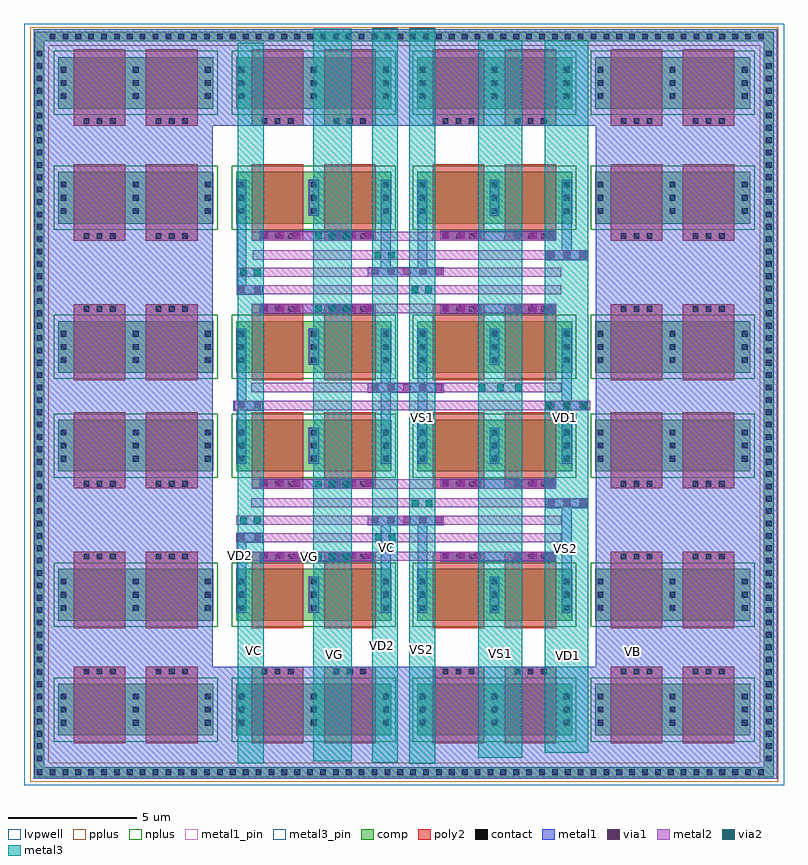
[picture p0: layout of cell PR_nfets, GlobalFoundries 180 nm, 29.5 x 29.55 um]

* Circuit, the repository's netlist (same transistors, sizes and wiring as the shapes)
** sch_path: /home/gmaranhao/Desktop/gf180_work/TIA/PseudoResistor/PR_nfets.sch
.subckt PR_nfets VD1 VD2 VS1 VS2 VG VC VB
*.PININFO VD1:B VD2:B VS1:B VS2:B VG:B VC:B VB:B
M5[1] VB VB VB VB nfet_03v3 L=2u W=2u nf=1 m=1
M5[2] VB VB VB VB nfet_03v3 L=2u W=2u nf=1 m=1
M5[3] VB VB VB VB nfet_03v3 L=2u W=2u nf=1 m=1
M5[4] VB VB VB VB nfet_03v3 L=2u W=2u nf=1 m=1
M5[5] VB VB VB VB nfet_03v3 L=2u W=2u nf=1 m=1
M5[6] VB VB VB VB nfet_03v3 L=2u W=2u nf=1 m=1
M5[7] VB VB VB VB nfet_03v3 L=2u W=2u nf=1 m=1
M5[8] VB VB VB VB nfet_03v3 L=2u W=2u nf=1 m=1
M5[9] VB VB VB VB nfet_03v3 L=2u W=2u nf=1 m=1
M5[10] VB VB VB VB nfet_03v3 L=2u W=2u nf=1 m=1
M5[11] VB VB VB VB nfet_03v3 L=2u W=2u nf=1 m=1
M5[12] VB VB VB VB nfet_03v3 L=2u W=2u nf=1 m=1
M5[13] VB VB VB VB nfet_03v3 L=2u W=2u nf=1 m=1
M5[14] VB VB VB VB nfet_03v3 L=2u W=2u nf=1 m=1
M5[15] VB VB VB VB nfet_03v3 L=2u W=2u nf=1 m=1
M5[16] VB VB VB VB nfet_03v3 L=2u W=2u nf=1 m=1
M5[17] VB VB VB VB nfet_03v3 L=2u W=2u nf=1 m=1
M5[18] VB VB VB VB nfet_03v3 L=2u W=2u nf=1 m=1
M5[19] VB VB VB VB nfet_03v3 L=2u W=2u nf=1 m=1
M5[20] VB VB VB VB nfet_03v3 L=2u W=2u nf=1 m=1
M5[21] VB VB VB VB nfet_03v3 L=2u W=2u nf=1 m=1
M5[22] VB VB VB VB nfet_03v3 L=2u W=2u nf=1 m=1
M5[23] VB VB VB VB nfet_03v3 L=2u W=2u nf=1 m=1
M5[24] VB VB VB VB nfet_03v3 L=2u W=2u nf=1 m=1
M5[25] VB VB VB VB nfet_03v3 L=2u W=2u nf=1 m=1
M5[26] VB VB VB VB nfet_03v3 L=2u W=2u nf=1 m=1
M5[27] VB VB VB VB nfet_03v3 L=2u W=2u nf=1 m=1
M5[28] VB VB VB VB nfet_03v3 L=2u W=2u nf=1 m=1
M5[29] VB VB VB VB nfet_03v3 L=2u W=2u nf=1 m=1
M5[30] VB VB VB VB nfet_03v3 L=2u W=2u nf=1 m=1
M5[31] VB VB VB VB nfet_03v3 L=2u W=2u nf=1 m=1
M5[32] VB VB VB VB nfet_03v3 L=2u W=2u nf=1 m=1
M3 VD2 VG net1 VB nfet_03v3 L=2u W=2u nf=1 m=1
M4 net1 VG VC VB nfet_03v3 L=2u W=2u nf=1 m=1
M6 VD2 VG net2 VB nfet_03v3 L=2u W=2u nf=1 m=1
M8 net2 VG VC VB nfet_03v3 L=2u W=2u nf=1 m=1
M1 VC VG net3 VB nfet_03v3 L=2u W=2u nf=1 m=1
M9 net3 VG VS2 VB nfet_03v3 L=2u W=2u nf=1 m=1
M10 VC VG net4 VB nfet_03v3 L=2u W=2u nf=1 m=1
M11 net4 VG VS2 VB nfet_03v3 L=2u W=2u nf=1 m=1
M2 VD1 VG net5 VB nfet_03v3 L=2u W=2u nf=1 m=1
M12 net5 VG VS1 VB nfet_03v3 L=2u W=2u nf=1 m=1
M13 VD1 VG net6 VB nfet_03v3 L=2u W=2u nf=1 m=1
M14 net6 VG VS1 VB nfet_03v3 L=2u W=2u nf=1 m=1
M7 VD1 VG net7 VB nfet_03v3 L=2u W=2u nf=1 m=1
M15 net7 VG VS1 VB nfet_03v3 L=2u W=2u nf=1 m=1
M16 VD1 VG net8 VB nfet_03v3 L=2u W=2u nf=1 m=1
M17 net8 VG VS1 VB nfet_03v3 L=2u W=2u nf=1 m=1
.ends
.end

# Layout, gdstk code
import gdstk
lib = gdstk.Library(unit=1e-6, precision=1e-09)
def R(c, l, rs):  # rectangles x0, y0, x1, y1
    for r in rs: c.add(gdstk.rectangle(r[:2], r[2:], *l))
def A(c, l, x, y, w, h, nx, ny, dx, dy):  # array of equal rectangles
    R(c, l, [(x+i*dx, y+j*dy, x+i*dx+w, y+j*dy+h) for i in range(nx) for j in range(ny)])
def P(c, l, *ps):  # polygons
    for p in ps: c.add(gdstk.Polygon(p, *l))
comp = (22, 0)
poly2 = (30, 0)
pplus = (31, 0)
nplus = (32, 0)
contact = (33, 0)
metal1 = (34, 0)
metal1_pin = (34, 10)
via1 = (35, 0)
metal2 = (36, 0)
via2 = (38, 0)
metal3 = (42, 0)
metal3_pin = (42, 10)
lvpwell = (204, 0)

nfet_1 = lib.new_cell('nfet$1')
R(nfet_1, comp, [(-0.42,0,0,2), (0,0,2.38,2), (2.38,0,2.8,2)])
R(nfet_1, poly2, [(0.19,-0.3,2.19,2.3), (0.19,2.3,2.19,2.66)])
R(nfet_1, nplus, [(-0.59,-0.24,2.97,2.24)])
A(nfet_1, contact, -0.32, 0.38, 0.22, 0.22, 1, 3, 0, 0.51)
A(nfet_1, contact, 2.48, 0.38, 0.22, 0.22, 1, 3, 0, 0.51)
A(nfet_1, contact, 0.57, 2.37, 0.22, 0.22, 3, 1, 0.51, 0)
R(nfet_1, metal1, [(-0.4,0.3,-0.02,1.7), (2.4,0.3,2.78,1.7), (0.49,2.29,1.89,2.67)])

pr_nfets = lib.new_cell('PR_nfets')
R(pr_nfets, comp, [(-8.285,-5.85,20.405,-5.47), (-8.285,-5.47,-7.905,23.09), (20.025,-5.47,20.405,23.09), (-8.285,22.71,20.405,23.09)])
R(pr_nfets, pplus, [(-8.455,-6.02,20.575,-5.3), (-8.455,-5.645,-7.735,23.26), (19.855,-5.645,20.575,23.26), (-8.455,22.54,20.575,23.26)])
A(pr_nfets, contact, -8.2, -5.77, 0.22, 0.22, 57, 1, 0.5, 0)
A(pr_nfets, contact, -8.205, -5.235, 0.22, 0.22, 1, 58, 0, 0.48)
A(pr_nfets, contact, 20.105, -5.235, 0.22, 0.22, 1, 58, 0, 0.48)
A(pr_nfets, contact, -7.7, 22.79, 0.22, 0.22, 56, 1, 0.5, 0)
R(pr_nfets, contact, [(-8.205,22.125,-7.985,22.345)])
R(pr_nfets, metal1, [(-8.325,-5.905,-1.37,23.18), (-1.765,-5.905,20.535,-1.56), (13.49,-3.93,20.535,21.8), (-0.44,1.89,-0.06,3.63), (12.18,1.9,12.56,4.72), (5.16,1.91,5.54,4.13), (6.58,1.91,6.96,4.13), (0.45,2.52,2.09,2.9), (2.045,2.52,3.275,2.9), (3.25,2.52,4.89,2.9), (7.47,2.52,9.11,2.9), (9.065,2.52,10.295,2.9), (10.27,2.52,11.91,2.9), (-0.44,3.25,0.57,3.63), (-0.44,3.25,0.57,3.63), (4.65,3.92,7.605,4.3), (11.565,4.585,13.19,4.965), (0.45,5.35,2.09,5.73), (2.045,5.35,3.275,5.73), (3.25,5.35,4.89,5.73), (7.47,5.35,9.11,5.73), (9.065,5.35,10.295,5.73), (10.27,5.35,11.91,5.73), (12.18,6.41,12.56,9.22), (-0.44,7.18,-0.06,8.76), (5.16,7.355,5.54,9.41), (6.58,7.355,6.96,9.41), (-0.44,8.265,-0.06,11.075), (-0.565,8.38,0.57,8.76), (-0.485,8.38,0.57,8.76), (11.555,8.39,13.19,8.77), (12.18,8.415,12.56,11.225), (4.65,9.065,7.605,9.445), (5.16,9.09,5.54,11.145), (6.58,9.09,6.96,11.145), (0.45,12.14,2.09,12.52), (2.045,12.14,3.275,12.52), (3.25,12.14,4.89,12.52), (7.47,12.14,9.11,12.52), (9.065,12.14,10.295,12.52), (10.27,12.14,11.91,12.52), (-0.44,12.87,0.57,13.25), (-0.415,12.87,0.57,13.25), (-0.44,13.075,-0.06,16.095), (4.65,13.565,7.605,13.945), (5.16,13.765,5.54,15.985), (6.58,13.765,6.96,15.985), (11.555,14.22,13.19,14.6), (12.18,14.37,12.56,16.095), (0.45,14.97,2.09,15.35), (2.045,14.97,3.275,15.35), (3.25,14.97,4.89,15.35), (7.47,14.97,9.11,15.35), (9.065,14.97,10.295,15.35), (10.27,14.97,11.91,15.35), (-1.765,19.43,20.535,23.18)])
R(pr_nfets, metal1_pin, [(14.825,-0.995,15,-0.875)])
A(pr_nfets, via1, 11.635, 4.665, 0.26, 0.26, 3, 1, 0.62, 0)
A(pr_nfets, via1, 11.625, 14.3, 0.26, 0.26, 3, 1, 0.62, 0)
R(pr_nfets, via1, [(0.52,2.6,0.78,2.86), (0.52,2.6,0.78,2.86), (0.52,2.6,0.78,2.86), (0.52,2.6,0.78,2.86), (0.52,2.6,0.78,2.86), (0.52,2.6,0.78,2.86), (0.52,2.6,0.78,2.86), (0.52,2.6,0.78,2.86), (1.14,2.6,1.4,2.86), (1.14,2.6,1.4,2.86), (1.14,2.6,1.4,2.86), (1.14,2.6,1.4,2.86), (1.14,2.6,1.4,2.86), (1.14,2.6,1.4,2.86), (1.14,2.6,1.4,2.86), (1.14,2.6,1.4,2.86), (1.76,2.6,2.02,2.86), (1.76,2.6,2.02,2.86), (1.76,2.6,2.02,2.86), (1.76,2.6,2.02,2.86), (1.76,2.6,2.02,2.86), (1.76,2.6,2.02,2.86), (1.76,2.6,2.02,2.86), (1.76,2.6,2.02,2.86), (3.32,2.6,3.58,2.86), (3.32,2.6,3.58,2.86), (3.32,2.6,3.58,2.86), (3.32,2.6,3.58,2.86), (3.32,2.6,3.58,2.86), (3.32,2.6,3.58,2.86), (3.32,2.6,3.58,2.86), (3.32,2.6,3.58,2.86), (3.94,2.6,4.2,2.86), (3.94,2.6,4.2,2.86), (3.94,2.6,4.2,2.86), (3.94,2.6,4.2,2.86), (3.94,2.6,4.2,2.86), (3.94,2.6,4.2,2.86), (3.94,2.6,4.2,2.86), (3.94,2.6,4.2,2.86), (4.56,2.6,4.82,2.86), (4.56,2.6,4.82,2.86), (4.56,2.6,4.82,2.86), (4.56,2.6,4.82,2.86), (4.56,2.6,4.82,2.86), (4.56,2.6,4.82,2.86), (4.56,2.6,4.82,2.86), (4.56,2.6,4.82,2.86), (7.54,2.6,7.8,2.86), (7.54,2.6,7.8,2.86), (7.54,2.6,7.8,2.86), (7.54,2.6,7.8,2.86), (7.54,2.6,7.8,2.86), (7.54,2.6,7.8,2.86), (7.54,2.6,7.8,2.86), (7.54,2.6,7.8,2.86), (8.16,2.6,8.42,2.86), (8.16,2.6,8.42,2.86), (8.16,2.6,8.42,2.86), (8.16,2.6,8.42,2.86), (8.16,2.6,8.42,2.86), (8.16,2.6,8.42,2.86), (8.16,2.6,8.42,2.86), (8.16,2.6,8.42,2.86), (8.78,2.6,9.04,2.86), (8.78,2.6,9.04,2.86), (8.78,2.6,9.04,2.86), (8.78,2.6,9.04,2.86), (8.78,2.6,9.04,2.86), (8.78,2.6,9.04,2.86), (8.78,2.6,9.04,2.86), (8.78,2.6,9.04,2.86), (10.34,2.6,10.6,2.86), (10.34,2.6,10.6,2.86), (10.34,2.6,10.6,2.86), (10.34,2.6,10.6,2.86), (10.34,2.6,10.6,2.86), (10.34,2.6,10.6,2.86), (10.34,2.6,10.6,2.86), (10.34,2.6,10.6,2.86), (10.96,2.6,11.22,2.86), (10.96,2.6,11.22,2.86), (10.96,2.6,11.22,2.86), (10.96,2.6,11.22,2.86), (10.96,2.6,11.22,2.86), (10.96,2.6,11.22,2.86), (10.96,2.6,11.22,2.86), (10.96,2.6,11.22,2.86), (11.58,2.6,11.84,2.86), (11.58,2.6,11.84,2.86), (11.58,2.6,11.84,2.86), (11.58,2.6,11.84,2.86), (11.58,2.6,11.84,2.86), (11.58,2.6,11.84,2.86), (11.58,2.6,11.84,2.86), (11.58,2.6,11.84,2.86), (-0.38,3.33,-0.12,3.59), (0.24,3.33,0.5,3.59), (4.795,4,5.055,4.26), (4.795,4,5.055,4.26), (4.795,4,5.055,4.26), (4.795,4,5.055,4.26), (4.795,4,5.055,4.26), (4.795,4,5.055,4.26), (4.795,4,5.055,4.26), (4.795,4,5.055,4.26), (5.415,4,5.675,4.26), (5.415,4,5.675,4.26), (5.415,4,5.675,4.26), (5.415,4,5.675,4.26), (5.415,4,5.675,4.26), (5.415,4,5.675,4.26), (5.415,4,5.675,4.26), (5.415,4,5.675,4.26), (6.035,4,6.295,4.26), (6.035,4,6.295,4.26), (6.035,4,6.295,4.26), (6.035,4,6.295,4.26), (6.035,4,6.295,4.26), (6.035,4,6.295,4.26), (6.035,4,6.295,4.26), (6.035,4,6.295,4.26), (6.655,4,6.915,4.26), (6.655,4,6.915,4.26), (6.655,4,6.915,4.26), (6.655,4,6.915,4.26), (6.655,4,6.915,4.26), (6.655,4,6.915,4.26), (6.655,4,6.915,4.26), (6.655,4,6.915,4.26), (7.275,4,7.535,4.26), (7.275,4,7.535,4.26), (7.275,4,7.535,4.26), (7.275,4,7.535,4.26), (7.275,4,7.535,4.26), (7.275,4,7.535,4.26), (7.275,4,7.535,4.26), (7.275,4,7.535,4.26), (0.52,5.43,0.78,5.69), (0.52,5.43,0.78,5.69), (0.52,5.43,0.78,5.69), (0.52,5.43,0.78,5.69), (0.52,5.43,0.78,5.69), (0.52,5.43,0.78,5.69), (0.52,5.43,0.78,5.69), (0.52,5.43,0.78,5.69), (1.14,5.43,1.4,5.69), (1.14,5.43,1.4,5.69), (1.14,5.43,1.4,5.69), (1.14,5.43,1.4,5.69), (1.14,5.43,1.4,5.69), (1.14,5.43,1.4,5.69), (1.14,5.43,1.4,5.69), (1.14,5.43,1.4,5.69), (1.76,5.43,2.02,5.69), (1.76,5.43,2.02,5.69), (1.76,5.43,2.02,5.69), (1.76,5.43,2.02,5.69), (1.76,5.43,2.02,5.69), (1.76,5.43,2.02,5.69), (1.76,5.43,2.02,5.69), (1.76,5.43,2.02,5.69), (3.32,5.43,3.58,5.69), (3.32,5.43,3.58,5.69), (3.32,5.43,3.58,5.69), (3.32,5.43,3.58,5.69), (3.32,5.43,3.58,5.69), (3.32,5.43,3.58,5.69), (3.32,5.43,3.58,5.69), (3.32,5.43,3.58,5.69), (3.94,5.43,4.2,5.69), (3.94,5.43,4.2,5.69), (3.94,5.43,4.2,5.69), (3.94,5.43,4.2,5.69), (3.94,5.43,4.2,5.69), (3.94,5.43,4.2,5.69), (3.94,5.43,4.2,5.69), (3.94,5.43,4.2,5.69), (4.56,5.43,4.82,5.69), (4.56,5.43,4.82,5.69), (4.56,5.43,4.82,5.69), (4.56,5.43,4.82,5.69), (4.56,5.43,4.82,5.69), (4.56,5.43,4.82,5.69), (4.56,5.43,4.82,5.69), (4.56,5.43,4.82,5.69), (7.54,5.43,7.8,5.69), (7.54,5.43,7.8,5.69), (7.54,5.43,7.8,5.69), (7.54,5.43,7.8,5.69), (7.54,5.43,7.8,5.69), (7.54,5.43,7.8,5.69), (7.54,5.43,7.8,5.69), (7.54,5.43,7.8,5.69), (8.16,5.43,8.42,5.69), (8.16,5.43,8.42,5.69), (8.16,5.43,8.42,5.69), (8.16,5.43,8.42,5.69), (8.16,5.43,8.42,5.69), (8.16,5.43,8.42,5.69), (8.16,5.43,8.42,5.69), (8.16,5.43,8.42,5.69), (8.78,5.43,9.04,5.69), (8.78,5.43,9.04,5.69), (8.78,5.43,9.04,5.69), (8.78,5.43,9.04,5.69), (8.78,5.43,9.04,5.69), (8.78,5.43,9.04,5.69), (8.78,5.43,9.04,5.69), (8.78,5.43,9.04,5.69), (10.34,5.43,10.6,5.69), (10.34,5.43,10.6,5.69), (10.34,5.43,10.6,5.69), (10.34,5.43,10.6,5.69), (10.34,5.43,10.6,5.69), (10.34,5.43,10.6,5.69), (10.34,5.43,10.6,5.69), (10.34,5.43,10.6,5.69), (10.96,5.43,11.22,5.69), (10.96,5.43,11.22,5.69), (10.96,5.43,11.22,5.69), (10.96,5.43,11.22,5.69), (10.96,5.43,11.22,5.69), (10.96,5.43,11.22,5.69), (10.96,5.43,11.22,5.69), (10.96,5.43,11.22,5.69), (11.58,5.43,11.84,5.69), (11.58,5.43,11.84,5.69), (11.58,5.43,11.84,5.69), (11.58,5.43,11.84,5.69), (11.58,5.43,11.84,5.69), (11.58,5.43,11.84,5.69), (11.58,5.43,11.84,5.69), (11.58,5.43,11.84,5.69), (-0.38,8.46,-0.12,8.72), (0.24,8.46,0.5,8.72), (11.625,8.47,11.885,8.73), (11.625,8.47,11.885,8.73), (11.625,8.47,11.885,8.73), (11.625,8.47,11.885,8.73), (11.625,8.47,11.885,8.73), (11.625,8.47,11.885,8.73), (11.625,8.47,11.885,8.73), (11.625,8.47,11.885,8.73), (12.245,8.47,12.505,8.73), (12.245,8.47,12.505,8.73), (12.245,8.47,12.505,8.73), (12.245,8.47,12.505,8.73), (12.245,8.47,12.505,8.73), (12.245,8.47,12.505,8.73), (12.245,8.47,12.505,8.73), (12.245,8.47,12.505,8.73), (12.865,8.47,13.125,8.73), (12.865,8.47,13.125,8.73), (12.865,8.47,13.125,8.73), (12.865,8.47,13.125,8.73), (12.865,8.47,13.125,8.73), (12.865,8.47,13.125,8.73), (12.865,8.47,13.125,8.73), (12.865,8.47,13.125,8.73), (4.795,9.145,5.055,9.405), (4.795,9.145,5.055,9.405), (4.795,9.145,5.055,9.405), (4.795,9.145,5.055,9.405), (4.795,9.145,5.055,9.405), (4.795,9.145,5.055,9.405), (4.795,9.145,5.055,9.405), (4.795,9.145,5.055,9.405), (5.415,9.145,5.675,9.405), (5.415,9.145,5.675,9.405), (5.415,9.145,5.675,9.405), (5.415,9.145,5.675,9.405), (5.415,9.145,5.675,9.405), (5.415,9.145,5.675,9.405), (5.415,9.145,5.675,9.405), (5.415,9.145,5.675,9.405), (6.035,9.145,6.295,9.405), (6.035,9.145,6.295,9.405), (6.035,9.145,6.295,9.405), (6.035,9.145,6.295,9.405), (6.035,9.145,6.295,9.405), (6.035,9.145,6.295,9.405), (6.035,9.145,6.295,9.405), (6.035,9.145,6.295,9.405), (6.655,9.145,6.915,9.405), (6.655,9.145,6.915,9.405), (6.655,9.145,6.915,9.405), (6.655,9.145,6.915,9.405), (6.655,9.145,6.915,9.405), (6.655,9.145,6.915,9.405), (6.655,9.145,6.915,9.405), (6.655,9.145,6.915,9.405), (7.275,9.145,7.535,9.405), (7.275,9.145,7.535,9.405), (7.275,9.145,7.535,9.405), (7.275,9.145,7.535,9.405), (7.275,9.145,7.535,9.405), (7.275,9.145,7.535,9.405), (7.275,9.145,7.535,9.405), (7.275,9.145,7.535,9.405), (0.52,12.22,0.78,12.48), (0.52,12.22,0.78,12.48), (0.52,12.22,0.78,12.48), (0.52,12.22,0.78,12.48), (0.52,12.22,0.78,12.48), (0.52,12.22,0.78,12.48), (0.52,12.22,0.78,12.48), (0.52,12.22,0.78,12.48), (1.14,12.22,1.4,12.48), (1.14,12.22,1.4,12.48), (1.14,12.22,1.4,12.48), (1.14,12.22,1.4,12.48), (1.14,12.22,1.4,12.48), (1.14,12.22,1.4,12.48), (1.14,12.22,1.4,12.48), (1.14,12.22,1.4,12.48), (1.76,12.22,2.02,12.48), (1.76,12.22,2.02,12.48), (1.76,12.22,2.02,12.48), (1.76,12.22,2.02,12.48), (1.76,12.22,2.02,12.48), (1.76,12.22,2.02,12.48), (1.76,12.22,2.02,12.48), (1.76,12.22,2.02,12.48), (3.32,12.22,3.58,12.48), (3.32,12.22,3.58,12.48), (3.32,12.22,3.58,12.48), (3.32,12.22,3.58,12.48), (3.32,12.22,3.58,12.48), (3.32,12.22,3.58,12.48), (3.32,12.22,3.58,12.48), (3.32,12.22,3.58,12.48), (3.94,12.22,4.2,12.48), (3.94,12.22,4.2,12.48), (3.94,12.22,4.2,12.48), (3.94,12.22,4.2,12.48), (3.94,12.22,4.2,12.48), (3.94,12.22,4.2,12.48), (3.94,12.22,4.2,12.48), (3.94,12.22,4.2,12.48), (4.56,12.22,4.82,12.48), (4.56,12.22,4.82,12.48), (4.56,12.22,4.82,12.48), (4.56,12.22,4.82,12.48), (4.56,12.22,4.82,12.48), (4.56,12.22,4.82,12.48), (4.56,12.22,4.82,12.48), (4.56,12.22,4.82,12.48), (7.54,12.22,7.8,12.48), (7.54,12.22,7.8,12.48), (7.54,12.22,7.8,12.48), (7.54,12.22,7.8,12.48), (7.54,12.22,7.8,12.48), (7.54,12.22,7.8,12.48), (7.54,12.22,7.8,12.48), (7.54,12.22,7.8,12.48), (8.16,12.22,8.42,12.48), (8.16,12.22,8.42,12.48), (8.16,12.22,8.42,12.48), (8.16,12.22,8.42,12.48), (8.16,12.22,8.42,12.48), (8.16,12.22,8.42,12.48), (8.16,12.22,8.42,12.48), (8.16,12.22,8.42,12.48), (8.78,12.22,9.04,12.48), (8.78,12.22,9.04,12.48), (8.78,12.22,9.04,12.48), (8.78,12.22,9.04,12.48), (8.78,12.22,9.04,12.48), (8.78,12.22,9.04,12.48), (8.78,12.22,9.04,12.48), (8.78,12.22,9.04,12.48), (10.34,12.22,10.6,12.48), (10.34,12.22,10.6,12.48), (10.34,12.22,10.6,12.48), (10.34,12.22,10.6,12.48), (10.34,12.22,10.6,12.48), (10.34,12.22,10.6,12.48), (10.34,12.22,10.6,12.48), (10.34,12.22,10.6,12.48), (10.96,12.22,11.22,12.48), (10.96,12.22,11.22,12.48), (10.96,12.22,11.22,12.48), (10.96,12.22,11.22,12.48), (10.96,12.22,11.22,12.48), (10.96,12.22,11.22,12.48), (10.96,12.22,11.22,12.48), (10.96,12.22,11.22,12.48), (11.58,12.22,11.84,12.48), (11.58,12.22,11.84,12.48), (11.58,12.22,11.84,12.48), (11.58,12.22,11.84,12.48), (11.58,12.22,11.84,12.48), (11.58,12.22,11.84,12.48), (11.58,12.22,11.84,12.48), (11.58,12.22,11.84,12.48), (-0.38,12.95,-0.12,13.21), (0.24,12.95,0.5,13.21), (4.795,13.645,5.055,13.905), (4.795,13.645,5.055,13.905), (4.795,13.645,5.055,13.905), (4.795,13.645,5.055,13.905), (4.795,13.645,5.055,13.905), (4.795,13.645,5.055,13.905), (4.795,13.645,5.055,13.905), (4.795,13.645,5.055,13.905), (5.415,13.645,5.675,13.905), (5.415,13.645,5.675,13.905), (5.415,13.645,5.675,13.905), (5.415,13.645,5.675,13.905), (5.415,13.645,5.675,13.905), (5.415,13.645,5.675,13.905), (5.415,13.645,5.675,13.905), (5.415,13.645,5.675,13.905), (6.035,13.645,6.295,13.905), (6.035,13.645,6.295,13.905), (6.035,13.645,6.295,13.905), (6.035,13.645,6.295,13.905), (6.035,13.645,6.295,13.905), (6.035,13.645,6.295,13.905), (6.035,13.645,6.295,13.905), (6.035,13.645,6.295,13.905), (6.655,13.645,6.915,13.905), (6.655,13.645,6.915,13.905), (6.655,13.645,6.915,13.905), (6.655,13.645,6.915,13.905), (6.655,13.645,6.915,13.905), (6.655,13.645,6.915,13.905), (6.655,13.645,6.915,13.905), (6.655,13.645,6.915,13.905), (7.275,13.645,7.535,13.905), (7.275,13.645,7.535,13.905), (7.275,13.645,7.535,13.905), (7.275,13.645,7.535,13.905), (7.275,13.645,7.535,13.905), (7.275,13.645,7.535,13.905), (7.275,13.645,7.535,13.905), (7.275,13.645,7.535,13.905), (0.52,15.05,0.78,15.31), (0.52,15.05,0.78,15.31), (0.52,15.05,0.78,15.31), (0.52,15.05,0.78,15.31), (0.52,15.05,0.78,15.31), (0.52,15.05,0.78,15.31), (0.52,15.05,0.78,15.31), (0.52,15.05,0.78,15.31), (1.14,15.05,1.4,15.31), (1.14,15.05,1.4,15.31), (1.14,15.05,1.4,15.31), (1.14,15.05,1.4,15.31), (1.14,15.05,1.4,15.31), (1.14,15.05,1.4,15.31), (1.14,15.05,1.4,15.31), (1.14,15.05,1.4,15.31), (1.76,15.05,2.02,15.31), (1.76,15.05,2.02,15.31), (1.76,15.05,2.02,15.31), (1.76,15.05,2.02,15.31), (1.76,15.05,2.02,15.31), (1.76,15.05,2.02,15.31), (1.76,15.05,2.02,15.31), (1.76,15.05,2.02,15.31), (3.32,15.05,3.58,15.31), (3.32,15.05,3.58,15.31), (3.32,15.05,3.58,15.31), (3.32,15.05,3.58,15.31), (3.32,15.05,3.58,15.31), (3.32,15.05,3.58,15.31), (3.32,15.05,3.58,15.31), (3.32,15.05,3.58,15.31), (3.94,15.05,4.2,15.31), (3.94,15.05,4.2,15.31), (3.94,15.05,4.2,15.31), (3.94,15.05,4.2,15.31), (3.94,15.05,4.2,15.31), (3.94,15.05,4.2,15.31), (3.94,15.05,4.2,15.31), (3.94,15.05,4.2,15.31), (4.56,15.05,4.82,15.31), (4.56,15.05,4.82,15.31), (4.56,15.05,4.82,15.31), (4.56,15.05,4.82,15.31), (4.56,15.05,4.82,15.31), (4.56,15.05,4.82,15.31), (4.56,15.05,4.82,15.31), (4.56,15.05,4.82,15.31), (7.54,15.05,7.8,15.31), (7.54,15.05,7.8,15.31), (7.54,15.05,7.8,15.31), (7.54,15.05,7.8,15.31), (7.54,15.05,7.8,15.31), (7.54,15.05,7.8,15.31), (7.54,15.05,7.8,15.31), (7.54,15.05,7.8,15.31), (8.16,15.05,8.42,15.31), (8.16,15.05,8.42,15.31), (8.16,15.05,8.42,15.31), (8.16,15.05,8.42,15.31), (8.16,15.05,8.42,15.31), (8.16,15.05,8.42,15.31), (8.16,15.05,8.42,15.31), (8.16,15.05,8.42,15.31), (8.78,15.05,9.04,15.31), (8.78,15.05,9.04,15.31), (8.78,15.05,9.04,15.31), (8.78,15.05,9.04,15.31), (8.78,15.05,9.04,15.31), (8.78,15.05,9.04,15.31), (8.78,15.05,9.04,15.31), (8.78,15.05,9.04,15.31), (10.34,15.05,10.6,15.31), (10.34,15.05,10.6,15.31), (10.34,15.05,10.6,15.31), (10.34,15.05,10.6,15.31), (10.34,15.05,10.6,15.31), (10.34,15.05,10.6,15.31), (10.34,15.05,10.6,15.31), (10.34,15.05,10.6,15.31), (10.96,15.05,11.22,15.31), (10.96,15.05,11.22,15.31), (10.96,15.05,11.22,15.31), (10.96,15.05,11.22,15.31), (10.96,15.05,11.22,15.31), (10.96,15.05,11.22,15.31), (10.96,15.05,11.22,15.31), (10.96,15.05,11.22,15.31), (11.58,15.05,11.84,15.31), (11.58,15.05,11.84,15.31), (11.58,15.05,11.84,15.31), (11.58,15.05,11.84,15.31), (11.58,15.05,11.84,15.31), (11.58,15.05,11.84,15.31), (11.58,15.05,11.84,15.31), (11.58,15.05,11.84,15.31)])
R(pr_nfets, metal2, [(0.15,2.545,11.97,2.9), (-0.465,3.27,12.165,3.625), (-0.455,3.945,12.165,4.3), (0.13,4.62,13.205,4.975), (0.15,5.35,11.97,5.705), (-0.525,8.4,13.28,8.755), (0.13,9.095,12.165,9.45), (0.15,12.165,11.97,12.52), (-0.445,12.89,12.165,13.245), (-0.395,13.565,12.165,13.92), (0.18,14.24,13.195,14.595), (0.15,14.97,11.97,15.325)])
A(pr_nfets, via2, 11.525, 8.44, 0.26, 0.26, 3, 1, 0.71, 0)
A(pr_nfets, via2, 8.955, 9.135, 0.26, 0.26, 3, 1, 0.71, 0)
R(pr_nfets, via2, [(2.605,2.58,2.865,2.84), (2.605,2.58,2.865,2.84), (3.135,2.58,3.395,2.84), (3.135,2.58,3.395,2.84), (3.665,2.58,3.925,2.84), (3.665,2.58,3.925,2.84), (4.93,3.335,5.19,3.595), (5.46,3.335,5.72,3.595), (-0.305,3.985,-0.045,4.245), (0.225,3.985,0.485,4.245), (6.36,4.655,6.62,4.915), (6.89,4.655,7.15,4.915), (2.605,5.395,2.865,5.655), (2.605,5.395,2.865,5.655), (3.135,5.395,3.395,5.655), (3.135,5.395,3.395,5.655), (3.665,5.395,3.925,5.655), (3.665,5.395,3.925,5.655), (2.605,12.21,2.865,12.47), (2.605,12.21,2.865,12.47), (3.135,12.21,3.395,12.47), (3.135,12.21,3.395,12.47), (3.665,12.21,3.925,12.47), (3.665,12.21,3.925,12.47), (6.35,12.94,6.61,13.2), (6.88,12.94,7.14,13.2), (-0.305,13.605,-0.045,13.865), (0.225,13.605,0.485,13.865), (4.91,14.29,5.17,14.55), (5.44,14.29,5.7,14.55), (2.605,15.02,2.865,15.28), (2.605,15.02,2.865,15.28), (3.135,15.02,3.395,15.28), (3.135,15.02,3.395,15.28), (3.665,15.02,3.925,15.28), (3.665,15.02,3.925,15.28)])
R(pr_nfets, metal3, [(6.26,-5.32,7.26,23.215), (-0.395,-5.305,0.61,22.66), (2.54,-5.235,4.02,23.2), (8.935,-5.095,10.65,22.755), (11.515,-4.895,13.215,22.745)])
P(pr_nfets, metal3, [(4.82,-5.3),(4.82,23.215),(5.82,23.215),(5.82,3.445),(5.82,-5.3)])
R(pr_nfets, metal3_pin, [(12.305,-1.19,12.55,-1.015), (3.205,-1.16,3.5,-0.935), (9.65,-1.135,9.945,-0.93), (0.08,-0.975,0.34,-0.85), (6.65,-0.95,6.86,-0.805), (5.07,-0.855,5.4,-0.56)])
R(pr_nfets, lvpwell, [(-8.695,-6.16,20.805,23.39)])
pr_nfets.add(gdstk.Reference(nfet_1, (-0.04,0.23)))
pr_nfets.add(gdstk.Reference(nfet_1, (2.76,0.23)))
pr_nfets.add(gdstk.Reference(nfet_1, (6.98,0.23)))
pr_nfets.add(gdstk.Reference(nfet_1, (9.78,0.23)))
pr_nfets.add(gdstk.Reference(nfet_1, (-0.04,8.02), x_reflection=True))
pr_nfets.add(gdstk.Reference(nfet_1, (2.76,8.02), x_reflection=True))
pr_nfets.add(gdstk.Reference(nfet_1, (6.98,8.02), x_reflection=True))
pr_nfets.add(gdstk.Reference(nfet_1, (9.78,8.02), x_reflection=True))
pr_nfets.add(gdstk.Reference(nfet_1, (9.78,9.85)))
pr_nfets.add(gdstk.Reference(nfet_1, (6.98,9.85)))
pr_nfets.add(gdstk.Reference(nfet_1, (2.76,9.85)))
pr_nfets.add(gdstk.Reference(nfet_1, (-0.04,9.85)))
pr_nfets.add(gdstk.Reference(nfet_1, (-6.95,0.23)))
pr_nfets.add(gdstk.Reference(nfet_1, (-4.15,0.23)))
pr_nfets.add(gdstk.Reference(nfet_1, (-0.04,22.1), x_reflection=True))
pr_nfets.add(gdstk.Reference(nfet_1, (2.76,22.1), x_reflection=True))
pr_nfets.add(gdstk.Reference(nfet_1, (6.98,22.1), x_reflection=True))
pr_nfets.add(gdstk.Reference(nfet_1, (9.78,22.1), x_reflection=True))
pr_nfets.add(gdstk.Reference(nfet_1, (-6.95,22.1), x_reflection=True))
pr_nfets.add(gdstk.Reference(nfet_1, (-4.15,22.1), x_reflection=True))
pr_nfets.add(gdstk.Reference(nfet_1, (13.89,22.1), x_reflection=True))
pr_nfets.add(gdstk.Reference(nfet_1, (16.69,22.1), x_reflection=True))
pr_nfets.add(gdstk.Reference(nfet_1, (-4.15,-4.23)))
pr_nfets.add(gdstk.Reference(nfet_1, (-6.95,-4.23)))
pr_nfets.add(gdstk.Reference(nfet_1, (16.69,-4.23)))
pr_nfets.add(gdstk.Reference(nfet_1, (13.89,-4.23)))
pr_nfets.add(gdstk.Reference(nfet_1, (2.76,-4.23)))
pr_nfets.add(gdstk.Reference(nfet_1, (-0.04,-4.23)))
pr_nfets.add(gdstk.Reference(nfet_1, (9.78,-4.23)))
pr_nfets.add(gdstk.Reference(nfet_1, (6.98,-4.23)))
pr_nfets.add(gdstk.Reference(nfet_1, (-0.04,17.64), x_reflection=True))
pr_nfets.add(gdstk.Reference(nfet_1, (2.76,17.64), x_reflection=True))
pr_nfets.add(gdstk.Reference(nfet_1, (6.98,17.64), x_reflection=True))
pr_nfets.add(gdstk.Reference(nfet_1, (9.78,17.64), x_reflection=True))
pr_nfets.add(gdstk.Reference(nfet_1, (-6.95,8.02), x_reflection=True))
pr_nfets.add(gdstk.Reference(nfet_1, (-4.15,8.02), x_reflection=True))
pr_nfets.add(gdstk.Reference(nfet_1, (-4.15,9.85)))
pr_nfets.add(gdstk.Reference(nfet_1, (-6.95,9.85)))
pr_nfets.add(gdstk.Reference(nfet_1, (-6.95,17.64), x_reflection=True))
pr_nfets.add(gdstk.Reference(nfet_1, (-4.15,17.64), x_reflection=True))
pr_nfets.add(gdstk.Reference(nfet_1, (13.89,0.23)))
pr_nfets.add(gdstk.Reference(nfet_1, (16.69,0.23)))
pr_nfets.add(gdstk.Reference(nfet_1, (13.89,8.02), x_reflection=True))
pr_nfets.add(gdstk.Reference(nfet_1, (16.69,8.02), x_reflection=True))
pr_nfets.add(gdstk.Reference(nfet_1, (16.69,9.85)))
pr_nfets.add(gdstk.Reference(nfet_1, (13.89,9.85)))
pr_nfets.add(gdstk.Reference(nfet_1, (13.89,17.64), x_reflection=True))
pr_nfets.add(gdstk.Reference(nfet_1, (16.69,17.64), x_reflection=True))
pr_nfets.add(gdstk.Label('VD2', (-0.285,2.75), layer=34, texttype=10))
pr_nfets.add(gdstk.Label('VG', (2.405,2.705), layer=34, texttype=10))
pr_nfets.add(gdstk.Label('VC', (5.385,3.06), layer=34, texttype=10))
pr_nfets.add(gdstk.Label('VS2', (12.335,3.025), layer=34, texttype=10))
pr_nfets.add(gdstk.Label('VS1', (6.755,8.095), layer=34, texttype=10))
pr_nfets.add(gdstk.Label('VD1', (12.33,8.095), layer=34, texttype=10))
pr_nfets.add(gdstk.Label('VB', (14.905,-0.955), layer=34, texttype=10))
pr_nfets.add(gdstk.Label('VG', (3.355,-1.08), layer=42, texttype=10))
pr_nfets.add(gdstk.Label('VS2', (6.74,-0.905), layer=42, texttype=10))
pr_nfets.add(gdstk.Label('VD2', (5.225,-0.745), layer=42, texttype=10))
pr_nfets.add(gdstk.Label('VC', (0.205,-0.94), layer=42, texttype=10))
pr_nfets.add(gdstk.Label('VD1', (12.45,-1.125), layer=42, texttype=10))
pr_nfets.add(gdstk.Label('VS1', (9.815,-1.045), layer=42, texttype=10))

lib.write_gds('PR_nfets.gds')
